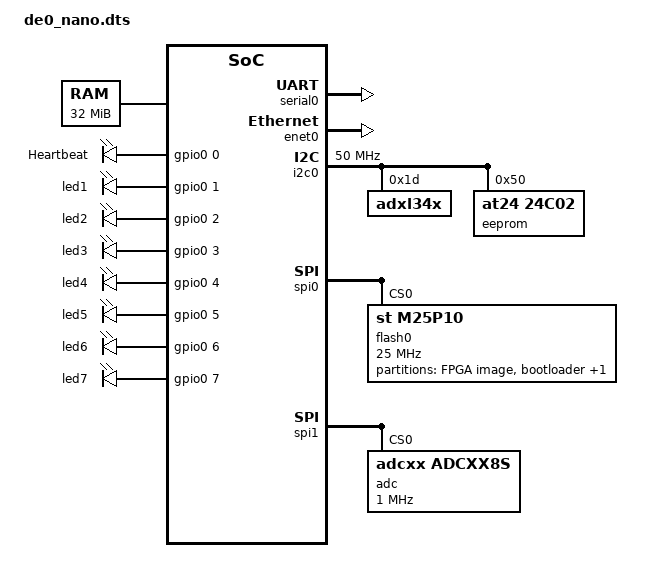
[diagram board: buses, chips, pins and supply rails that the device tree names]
/dts-v1/;
/ {
	compatible = "opencores,de0_nano";
	#address-cells = <1>;
	#size-cells = <1>;
	interrupt-parent = <&pic>;

	chosen {
		bootargs = "console=uart,mmio,0x90000000,115200 ip=::::de0_nano::dhcp root=/dev/nfs rw nfsroot=192.168.0.101:/nfsroot/root";
	};

	memory@0 {
		device_type = "memory";
		reg = <0x00000000 0x02000000>;
	};

	cpus {
		#address-cells = <1>;
		#size-cells = <0>;
		cpu@0 {
			compatible = "opencores,or1200-rtlsvn481";
			reg = <0>;
			clock-frequency = <50000000>;
		};
	};

	/*
	 * OR1K PIC is built into CPU and accessed via special purpose
	 * registers.  It is not addressable and, hence, has no 'reg'
	 * property.
	 */
	pic: pic {
		compatible = "opencores,or1k-pic";
		#interrupt-cells = <1>;
		interrupt-controller;
	};

	serial0: serial@90000000 {
		compatible = "opencores,uart16550-rtlsvn105", "ns16550a";
		reg = <0x90000000 0x100>;
		interrupts = <2>;
		clock-frequency = <50000000>;
	};

	enet0: ethoc@92000000 {
		compatible = "opencores,ethmac-rtlsvn338";
		reg = <0x92000000 0x100>;
		interrupts = <4>;
	};
	
	fb0: ocfb@97000000 {
		compatible = "opencores,ocfb", "ocfb";
		reg = <0x97000000 0x1000>;
	};
	
	i2c0: ocores@a0000000 {
		compatible = "opencores,i2c-ocores";
		reg = <0xa0000000 0x8>;
		interrupts = <10>;

		regstep = <1>;
		clock-frequency = <50000000>;

		/* Devices connected on this I2C bus get 
		 * defined here; address- and size-cells
		 * apply to these child devices
		 */	

		#address-cells = <1>;
		#size-cells = <0>;

		adxl34x@1D {
			compatible = "adxl34x";
			reg = <0x1D>;
			interrupts = <26>;
		};
		eeprom@50 {
			compatible = "at24,24c02"; 
			reg = <0x50>;
		};
	};
	
	ps2_0: ocps2@94000000 {
		compatible = "opencores,ocps2", "ocps2";
		reg = <0x94000000 0x2>;
		interrupts = <27>;
	};

	ps2_1: ocps2@95000000 {
		compatible = "opencores,ocps2", "ocps2";
		reg = <0x95000000 0x2>;
		interrupts = <28>;
	};
	
//	ohs900: ocores@9c000000 {
//		compatible = "opencores,ohs900-ocores";
//		reg = <0x9c000000 0x100>;
//		interrupts = <20 21>;
//		can_wakeup = <1>;
//		potpg = <10>;
//		power = <250>;
//	};
	
	spi0: spi0@b0000000 {
		compatible = "opencores,spi-simple";
		reg = <0xb0000000 0x5>;

		/* Devices connected on this SPI bus get
		 * defined here; address- and size-cells
		 * apply to these child devices.
		 */

		#address-cells = <1>;
		#size-cells = <0>;

		flash0: mtd@0 {
			compatible = "st,m25p10";
			reg = <0>;
			spi-max-frequency = <25000000>;

			#address-cells = <1>;
			#size-cells = <1>;

			partition@0 {
				label = "FPGA image";
				reg = <0x00000000 0x000b0000>;
				read-only;
			};
			partition@b0000 {
				label = "bootloader";
				reg = <0x000b0000 0x00050000>;
				read-only;
			};
			partition@100000 {
				label = "free space";
				reg = <0x00100000 0x00700000>;
			};
		};
	};

	spi1: spi1@b1000000 {
		compatible = "opencores,spi-simple";
		reg = <0xb1000000 0x5>;

		/* Devices connected on this SPI bus get
		 * defined here; address- and size-cells
		 * apply to these child devices.
		 */

		#address-cells = <1>;
		#size-cells = <0>;

		adc@0 {
			compatible = "adcxx,adcxx8s";
			reg = <0>;
			spi-max-frequency = <1000000>;
		};
		/* Example SD card slot at chipselect 0 */
		/* mmc-spi-slot@0 {
			compatible = "mmc-spi-slot";
			reg = <0>;
			spi-max-frequency = <10000000>;
		}; */
	};
	
	gpio0: gpio@91000000 {
		compatible = "opencores,jbtrivial";
		reg = <0x91000000 0x2>;
		#gpio-cells = <2>;
		gpio-controller;
		xlnx,data-offset = <0>;
		xlnx,tri-offset = <1>;
		xlnx,gpio-width = <8>;
	};
	
	gpio-leds {
		compatible = "gpio-leds";
		heartbeat {
			label = "Heartbeat";
			gpios = <&gpio0 0 0x0>;
			linux,default-trigger = "heartbeat";
		};
		led1 {
			label = "led1";
			gpios = <&gpio0 1 0x0>;
		};
		led2 {
			label = "led2";
			gpios = <&gpio0 2 0x0>;
		};
		led3 {
			label = "led3";
			gpios = <&gpio0 3 0x0>;
		};
		led4 {
			label = "led4";
			gpios = <&gpio0 4 0x0>;
		};
		led5 {
			label = "led5";
			gpios = <&gpio0 5 0x0>;
		};
		led6 {
			label = "led6";
			gpios = <&gpio0 6 0x0>;
		};
		led7 {
			label = "led7";
			gpios = <&gpio0 7 0x0>;
		};
	};
	
	ocsdc0: ocsdc@9e000000 {
		compatible = "opencores,ocsdc";
		reg = <0x9e000000 0x64>;
		interrupts = <14 15>;
	};
		
};
